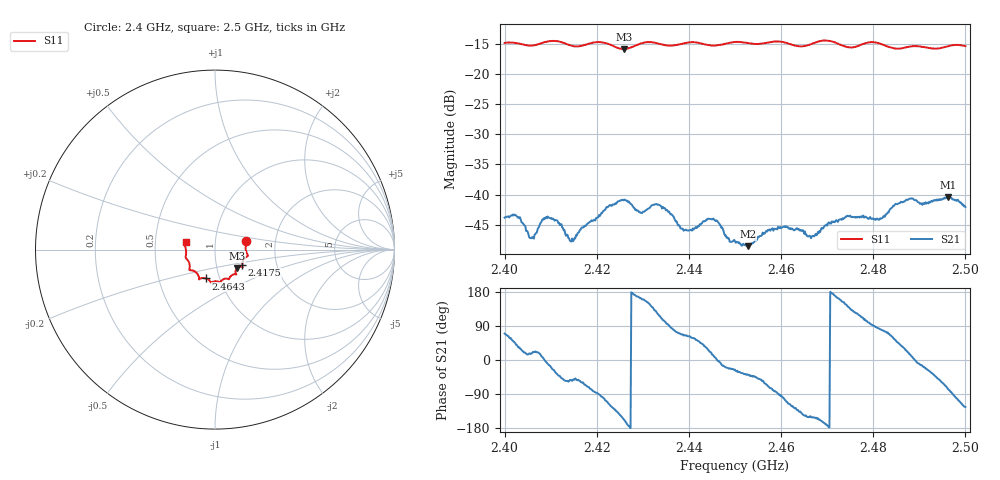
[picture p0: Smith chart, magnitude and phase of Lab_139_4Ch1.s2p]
# Hz S RI R 50
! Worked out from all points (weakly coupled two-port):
!   601 points, 2.4 GHz to 2.5 GHz, reference 50 ohm
!   highest |S21| = -40.45 dB at 2.4962 GHz (marker M1); lowest = -48.5 dB at 2.4528 GHz (marker M2)
!   lowest |S11| = -15.9 dB at 2.4258 GHz (marker M3), VSWR 1.38, Z = 62.3 - j13.3 ohm
!   |S11| at or under -10 dB: start of sweep to end of sweep
!   S12 and S22 are empty: the file has one direction only
!   S11 on the Smith chart (normalised r, x): 2.4 GHz: 1.41, +0.14; 2.4175 GHz: 1.34, -0.23; 2.4643 GHz: 0.86, -0.29; 2.5 GHz: 0.72, +0.06
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2.4e9  0.1732 0.0487  0.00221 0.00605  0 0  0 0
2.402833e9  0.175 0.0356  0.00527 0.00384  0 0  0 0
2.405833e9  0.1708 0.00386  0.00415 0.00132  0 0  0 0
2.409e9  0.1813 -0.029  0.00648 -0.000506  0 0  0 0
2.4145e9  0.1629 -0.0507  0.00242 -0.0033  0 0  0 0
2.416667e9  0.1529 -0.0743  0.00273 -0.00453  0 0  0 0
2.4175e9  0.152 -0.0837  0.00228 -0.00501  0 0  0 0
2.425833e9  0.1217 -0.1039  -0.00821 -0.00356  0 0  0 0
2.429667e9  0.1164 -0.1352  -0.00671 0.00222  0 0  0 0
2.433333e9  0.1127 -0.1371  -0.00418 0.00712  0 0  0 0
2.438667e9  0.0808 -0.158  0.002 0.00481  0 0  0 0
2.445e9  0.0555 -0.162  0.00602 0.00155  0 0  0 0
2.45e9  0.0288 -0.1809  0.00371 -0.00177  0 0  0 0
2.452833e9  0.0182 -0.1781  0.00291 -0.00235  0 0  0 0
2.457667e9  -0.0174 -0.1819  0.00136 -0.00484  0 0  0 0
2.464333e9  -0.0498 -0.1609  -0.00376 -0.00332  0 0  0 0
2.466667e9  -0.0759 -0.1594  -0.00396 -0.00214  0 0  0 0
2.4745e9  -0.1017 -0.131  -0.00516 0.00422  0 0  0 0
2.483333e9  -0.1406 -0.0898  0.00254 0.00664  0 0  0 0
2.488e9  -0.1602 -0.0505  0.00899 0.00234  0 0  0 0
2.496167e9  -0.1672 0.0214  0.00233 -0.00921  0 0  0 0
2.5e9  -0.1637 0.0425  -0.00442 -0.00652  0 0  0 0
